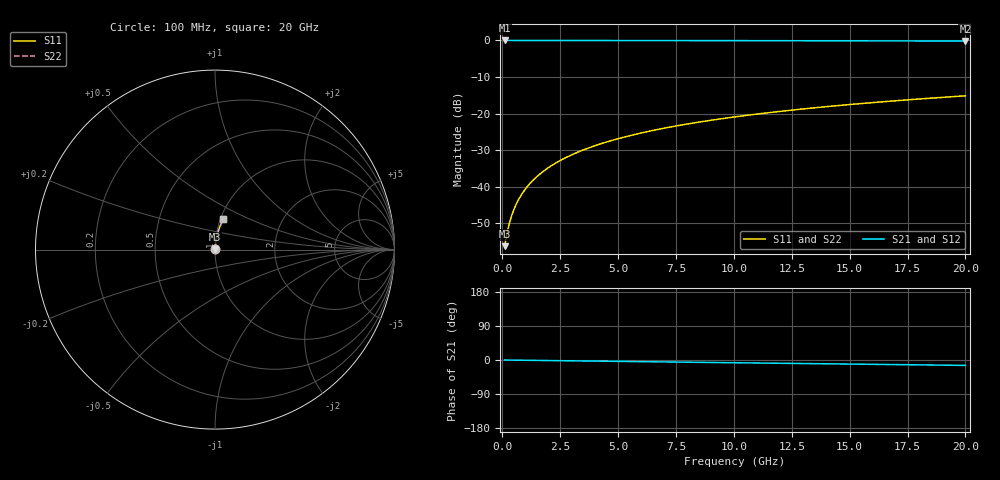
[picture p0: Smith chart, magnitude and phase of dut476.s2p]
! Touchstone file exported from HFSS 2026.1.0
!  File:  C:/ffzhzh/LocalFiles/Ansys_Project_Files/temp_train_TMRDL_476_1783006304_4048.aedt
!  Generated:  11:33:01 PM Jul  2, 2026
!  Design:  TMRDL
!  Project:  temp_train_TMRDL_476_1783006304_4048
! Variables:
!  h_bsmrdl = 2um
!  h_ox = 20um
!  h_rdl = 5um
!  h_sub = 80um
!  h_tmrdl = 2.89um
!  h_tsv = 80um
!  h_via = 3um
!  l_bsmrdl = 300um
!  l_sub = 538.62um
!  l_tmrdl = 138.62um
!  m_sub = 200um
!  pitch = 53um
!  r_tsv = 6um
!  s_tmrdl = 10um
!  w_bsmrdl = 18um
!  w_sub = 500um
!  w_tmrdl = 17.75um
!  x_tsv_center1 = 147.495um
!  x_tsv_center2 = 465.495um
!  x_tsv_center3 = 621.865um
!  x_tsv_center4 = 939.865um
!  x_tsv_center5 = 1096.235um
!  x_tsv_center6 = 1414.235um
# GHz S MA R 50.000000
! Terminal data exported
! Port[1] = TM_RDL1_1_T1
! Port[2] = TM_RDL1_1_T2
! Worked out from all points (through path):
!   200 points, 100 MHz to 20 GHz, reference 50 ohm
!   highest |S21| = -0.01 dB at 100 MHz (marker M1); lowest = -0.2 dB at 20 GHz (marker M2)
!   group delay of S21, straight-line fit = 1.98 ps
!   lowest |S11| = -56.2 dB at 100 MHz (marker M3), VSWR 1.00, Z = 50.1 + j0.0961 ohm
!   |S11| at or under -10 dB: start of sweep to end of sweep
!   |S22| runs from -56.2 to -15.1 dB; largest |S21 - S12| = 5e-15
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0.1  0.001545 38.4  0.9988 -0.1  0.9988 -0.1  0.001545 38.4
! Gamma 0 0 0 0
! Port Impedance 50 0 50 0
0.2  0.002276 57.0  0.9988 -0.2  0.9988 -0.2  0.002276 57.0
0.3  0.003121 65.9  0.9987 -0.2  0.9987 -0.2  0.003121 65.9
0.4  0.003998 70.7  0.9987 -0.3  0.9987 -0.3  0.003998 70.7
0.5  0.004884 73.8  0.9987 -0.4  0.9987 -0.4  0.004884 73.8
0.6  0.005773 75.9  0.9986 -0.4  0.9986 -0.4  0.005773 75.9
0.8  0.007556 78.7  0.9986 -0.6  0.9986 -0.6  0.007556 78.7
1.1  0.01024 81.1  0.9985 -0.8  0.9985 -0.8  0.01024 81.1
1.5  0.01384 82.7  0.9984 -1.1  0.9984 -1.1  0.01384 82.7
1.8  0.01654 83.4  0.9983 -1.3  0.9983 -1.3  0.01654 83.4
2.1  0.01925 83.9  0.9983 -1.5  0.9983 -1.5  0.01925 83.9
2.7  0.02468 84.3  0.9981 -2.0  0.9981 -2.0  0.02468 84.3
3.5  0.03191 84.4  0.9978 -2.6  0.9978 -2.6  0.03191 84.4
4.2  0.03822 84.3  0.9975 -3.1  0.9975 -3.1  0.03822 84.3
5  0.04542 84.0  0.9971 -3.6  0.9971 -3.6  0.04542 84.0
5.9  0.0535 83.6  0.9966 -4.3  0.9966 -4.3  0.0535 83.6
6.8  0.06154 83.1  0.996 -4.9  0.996 -4.9  0.06154 83.1
8.3  0.07486 82.2  0.9949 -6.0  0.9949 -6.0  0.07486 82.2
10.1  0.0907 81.0  0.9933 -7.3  0.9933 -7.3  0.0907 81.0
13.4  0.1193 78.9  0.9897 -9.7  0.9897 -9.7  0.1193 78.8
16.7  0.1474 76.6  0.9855 -12.0  0.9855 -12.0  0.1474 76.6
20  0.1749 74.5  0.9806 -14.3  0.9806 -14.3  0.1749 74.4
